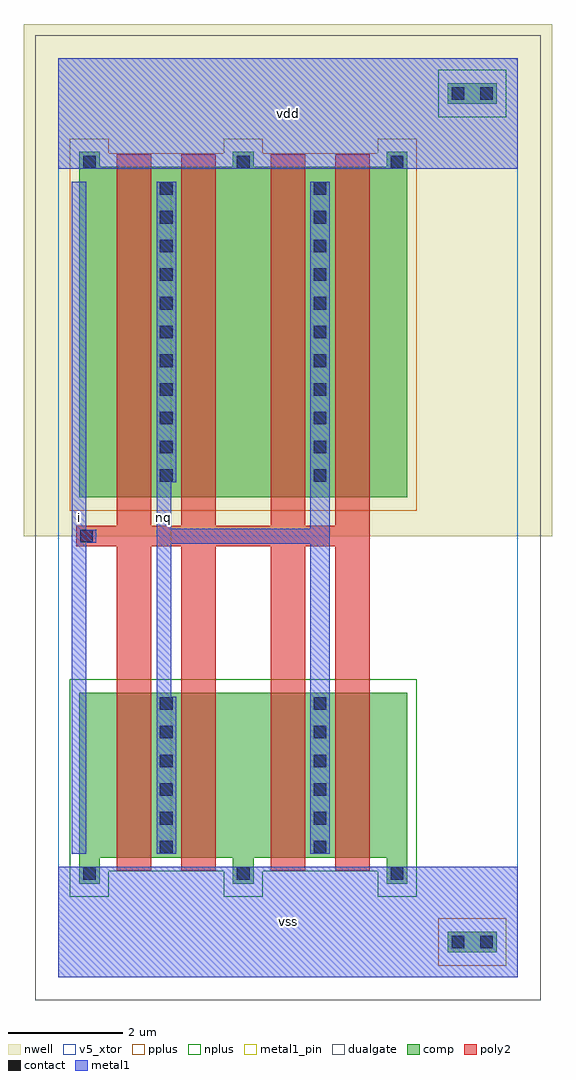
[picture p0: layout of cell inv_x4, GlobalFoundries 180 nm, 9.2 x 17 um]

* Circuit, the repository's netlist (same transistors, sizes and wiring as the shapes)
* inv_x4
.subckt inv_x4 vdd vss i nq
Mn0 vss i nq vss nfet_06v0 l=0.6um w=2.88um
Mn1 nq i vss vss nfet_06v0 l=0.6um w=2.88um
Mn2 vss i nq vss nfet_06v0 l=0.6um w=2.88um
Mn3 nq i vss vss nfet_06v0 l=0.6um w=2.88um
Mp0 vdd i nq vdd pfet_06v0 l=0.6um w=5.76um
Mp1 nq i vdd vdd pfet_06v0 l=0.6um w=5.76um
Mp2 vdd i nq vdd pfet_06v0 l=0.6um w=5.76um
Mp3 nq i vdd vdd pfet_06v0 l=0.6um w=5.76um
.ends inv_x4

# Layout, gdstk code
import gdstk
lib = gdstk.Library(unit=1e-6, precision=1e-09)
def R(c, l, rs):  # rectangles x0, y0, x1, y1
    for r in rs: c.add(gdstk.rectangle(r[:2], r[2:], *l))
def A(c, l, x, y, w, h, nx, ny, dx, dy):  # array of equal rectangles
    R(c, l, [(x+i*dx, y+j*dy, x+i*dx+w, y+j*dy+h) for i in range(nx) for j in range(ny)])
def P(c, l, *ps):  # polygons
    for p in ps: c.add(gdstk.Polygon(p, *l))
nwell = (21, 0)
comp = (22, 0)
poly2 = (30, 0)
pplus = (31, 0)
nplus = (32, 0)
contact = (33, 0)
metal1 = (34, 0)
metal1_pin = (34, 10)
dualgate = (55, 0)
v5_xtor = (112, 1)

inv_x4 = lib.new_cell('inv_x4')
R(inv_x4, nwell, [(-0.6,7.68,8.6,16.6)])
R(inv_x4, comp, [(6.78,0.43,7.64,0.79), (6.78,15.21,7.64,15.57)])
P(inv_x4, comp, [(0.36,1.625),(0.36,4.955),(6.08,4.955),(6.08,1.625),(5.72,1.625),(5.72,2.075),(3.4,2.075),(3.4,1.625),(3.04,1.625),(3.04,2.075),(0.72,2.075),(0.72,1.625)],
  [(0.36,8.355),(0.36,14.375),(0.72,14.375),(0.72,14.115),(3.04,14.115),(3.04,14.375),(3.4,14.375),(3.4,14.115),(5.72,14.115),(5.72,14.375),(6.08,14.375),(6.08,8.355)])
P(inv_x4, poly2, [(1.02,1.855),(1.02,7.5),(0.31,7.5),(0.31,7.86),(1.02,7.86),(1.02,14.335),(1.62,14.335),(1.62,7.86),(2.14,7.86),(2.14,14.335),(2.74,14.335),(2.74,7.86),(3.7,7.86),(3.7,14.335),(4.3,14.335),(4.3,7.86),(4.82,7.86),(4.82,14.335),(5.42,14.335),(5.42,1.855),(4.82,1.855),(4.82,7.5),(4.3,7.5),(4.3,1.855),(3.7,1.855),(3.7,7.5),(2.74,7.5),(2.74,1.855),(2.14,1.855),(2.14,7.5),(1.62,7.5),(1.62,1.855)])
R(inv_x4, pplus, [(6.62,0.2,7.8,1.02)])
P(inv_x4, pplus, [(0.2,8.125),(0.2,14.605),(0.88,14.605),(0.88,14.345),(2.88,14.345),(2.88,14.605),(3.56,14.605),(3.56,14.345),(5.56,14.345),(5.56,14.605),(6.24,14.605),(6.24,8.125)])
R(inv_x4, nplus, [(6.62,14.98,7.8,15.8)])
P(inv_x4, nplus, [(0.2,1.395),(0.2,5.185),(6.24,5.185),(6.24,1.395),(5.56,1.395),(5.56,1.845),(3.56,1.845),(3.56,1.395),(2.88,1.395),(2.88,1.845),(0.88,1.845),(0.88,1.395)])
A(inv_x4, contact, 0.43, 1.695, 0.22, 0.22, 3, 2, 2.68, 12.39)
A(inv_x4, contact, 1.77, 2.155, 0.22, 0.22, 1, 6, 0, 0.5)
A(inv_x4, contact, 4.45, 2.155, 0.22, 0.22, 1, 6, 0, 0.5)
A(inv_x4, contact, 1.77, 8.625, 0.22, 0.22, 1, 11, 0, 0.5)
A(inv_x4, contact, 4.45, 8.625, 0.22, 0.22, 1, 11, 0, 0.5)
R(inv_x4, contact, [(6.85,0.5,7.07,0.72), (7.35,0.5,7.57,0.72), (0.38,7.57,0.6,7.79), (6.85,15.28,7.07,15.5), (7.35,15.28,7.57,15.5)])
R(inv_x4, metal1, [(0,0,8,1.92), (0,14.08,8,16)])
P(inv_x4, metal1, [(0.23,2.15),(0.23,13.85),(0.49,13.85),(0.49,7.795),(0.66,7.795),(0.66,7.565),(0.49,7.565),(0.49,2.15)],
  [(1.71,2.15),(1.71,13.85),(2.05,13.85),(2.05,8.62),(1.97,8.62),(1.97,7.81),(4.39,7.81),(4.39,13.85),(4.73,13.85),(4.73,2.15),(4.39,2.15),(4.39,7.55),(1.97,7.55),(1.97,4.88),(2.05,4.88),(2.05,2.15)])
R(inv_x4, metal1_pin, [(0,0,8,1.92), (0.23,2.15,0.49,13.85), (1.71,2.15,1.97,13.85), (0,14.08,8,16)])
R(inv_x4, dualgate, [(-0.4,-0.4,8.4,16.4)])
R(inv_x4, v5_xtor, [(-0.005,-0.005,8.005,16.005)])
inv_x4.add(gdstk.Label('i', (0.36,8), layer=34, texttype=10))
inv_x4.add(gdstk.Label('vss', (4,0.96), layer=34, texttype=10))
inv_x4.add(gdstk.Label('vdd', (4,15.04), layer=34, texttype=10))
inv_x4.add(gdstk.Label('nq', (1.84,8), layer=34, texttype=10))

lib.write_gds('inv_x4.gds')
